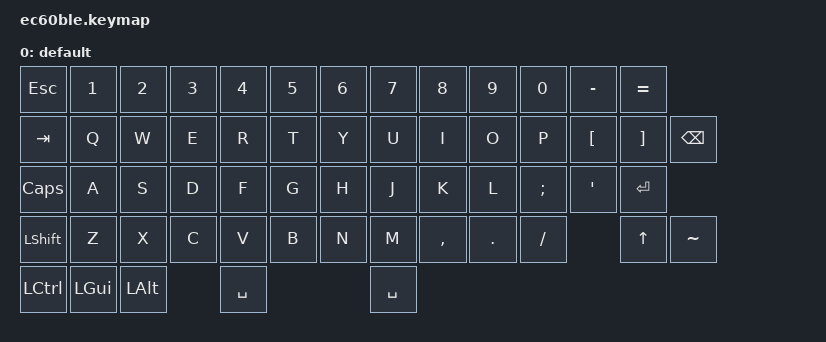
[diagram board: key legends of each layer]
/*
 * Copyright (c) 2020 The ZMK Contributors
 *
 * SPDX-License-Identifier: MIT
 */

/* not enabling all behaviors, it works, add the #! */
#undef ZMK_BEHAVIORS_KEEP_ALL  
/* #define ZMK_BEHAVIORS_KEEP_KT */

#include <behaviors.dtsi>
#include <dt-bindings/zmk/keys.h>
#include <dt-bindings/zmk/bt.h>
#include <dt-bindings/zmk/outputs.h>  /* this needed to enable output toggle */


/ {
    keymap {
        compatible = "zmk,keymap";

        default_layer {
            display-name = "default";
            bindings = <
                &kp ESC  &kp N1  &kp N2  &kp N3  &kp N4  &kp N5  &kp N6  &kp N7  &kp N8  &kp N9  &kp N0  &kp MINUS  &kp EQUAL
                &kp TAB  &kp Q   &kp W   &kp E   &kp R   &kp T   &kp Y   &kp U   &kp I   &kp O   &kp P   &kp LBKT   &kp RBKT   &kp BSPC
                &kp CAPS &kp A   &kp S   &kp D   &kp F   &kp G   &kp H   &kp J   &kp K   &kp L   &kp SEMI &kp APOS  &kp ENTER
                &kp LSHFT &kp Z  &kp X   &kp C   &kp V   &kp B   &kp N   &kp M  &kp COMMA &kp DOT &kp FSLH         &kp UP  &kp TILDE
                &kp LCTRL &kp LGUI  &kp LALT       &kp SPACE               &kp SPACE
            >;
        };

        extra1 {
            status = "reserved";
        };
    };
};
